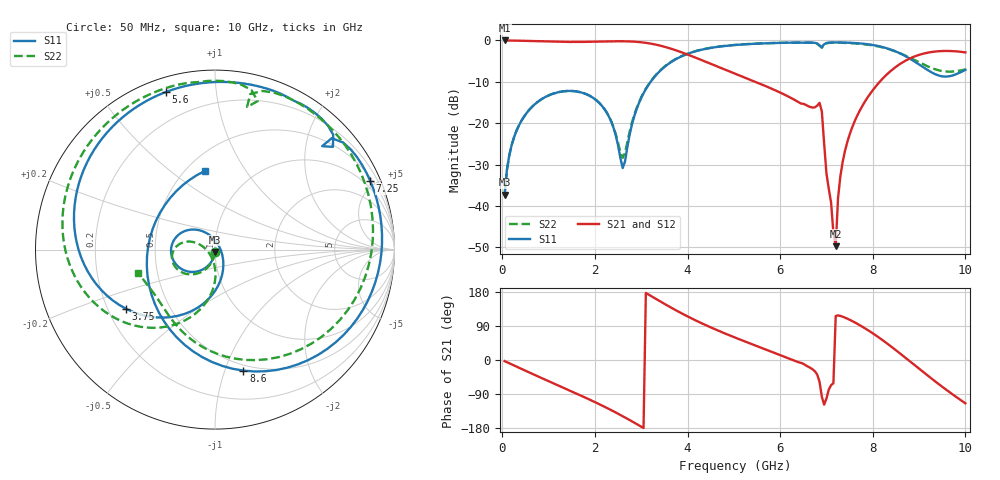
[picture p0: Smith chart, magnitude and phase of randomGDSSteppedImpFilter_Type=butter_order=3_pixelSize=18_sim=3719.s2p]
! freq	dB(S11)	phase(S11)	dB(S12)	phase(S12)
!  dB(S21)	phase(S21)	dB(S22)	phase(S22)
!S-par simulation data
#  GHz  S  DB  R 50
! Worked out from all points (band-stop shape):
!   200 points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, 50 MHz to 10 GHz, reference 50 ohm
!   highest |S21| = 0.00 dB at 50 MHz (marker M1); lowest = -49.7 dB at 7.2 GHz (marker M2)
!   |S21| within 3 dB of the highest: start of sweep to 3.905 GHz; 9.165 GHz to end of sweep
!   lowest |S11| = -37.3 dB at 50 MHz (marker M3), VSWR 1.03, Z = 49.9 - j1.36 ohm
!   |S11| at or under -10 dB: start of sweep to 3.204 GHz
!   |S22| runs from -37.3 to -0.5 dB; largest |S21 - S12| = 0
!   S11 on the Smith chart (normalised r, x): 50 MHz: 1.00, -0.03; 3.75 GHz: 0.28, -0.28; 5.6 GHz: 0.06, +0.73; 7.25 GHz: 0.64, +4.65; 8.6 GHz: 0.45, -1.16; 10 GHz: 0.61, +0.67
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0.05  -37.32 -93.2  -0.00 -2.9  -0.00 -2.9  -37.30 -92.8
0.2  -25.39 -102.6  -0.03 -11.4  -0.03 -11.4  -25.39 -101.1
0.55  -17.20 -123.8  -0.12 -31.1  -0.12 -31.1  -17.19 -119.6
1.75  -12.73 164.4  -0.35 -96.8  -0.35 -96.8  -12.72 -178.7
2.3  -18.37 123.1  -0.23 -129.0  -0.23 -129.0  -18.28 160.5
2.6  -30.86 33.2  -0.20 -148.3  -0.20 -148.3  -28.37 -147.9
2.9  -16.62 -74.5  -0.34 -168.9  -0.34 -168.9  -16.36 -89.1
3.4  -7.43 -119.6  -1.23 155.3  -1.23 155.3  -7.36 -113.1
3.75  -4.51 -146.3  -2.39 131.2  -2.39 131.2  -4.46 -134.1
4.35  -2.13 174.1  -4.96 94.4  -4.96 94.4  -2.09 -167.0
5.05  -1.08 135.2  -8.14 58.0  -8.14 58.0  -1.06 160.2
5.6  -0.73 107.4  -10.63 31.9  -10.63 31.9  -0.71 136.4
6.7  -0.53 50.9  -16.23 -24.6  -16.23 -24.6  -0.57 84.0
6.9  -1.62 44.0  -17.13 -96.9  -17.13 -96.9  -1.78 77.4
7  -0.63 39.9  -32.18 -101.6  -32.18 -101.6  -0.70 73.3
7.2  -0.48 26.9  -49.74 116.1  -49.74 116.1  -0.54 59.3
7.25  -0.48 23.8  -38.10 117.7  -38.10 117.7  -0.55 56.0
7.6  -0.62 2.0  -19.78 100.0  -19.78 100.0  -0.70 31.4
8.35  -2.06 -54.1  -7.75 39.9  -7.75 39.9  -2.12 -34.3
8.6  -3.19 -76.8  -5.60 16.1  -5.60 16.1  -3.15 -59.4
9.3  -7.90 -159.1  -2.75 -52.1  -2.75 -52.1  -6.79 -121.9
10  -7.10 97.6  -2.89 -114.3  -2.89 -114.3  -6.98 -163.4
